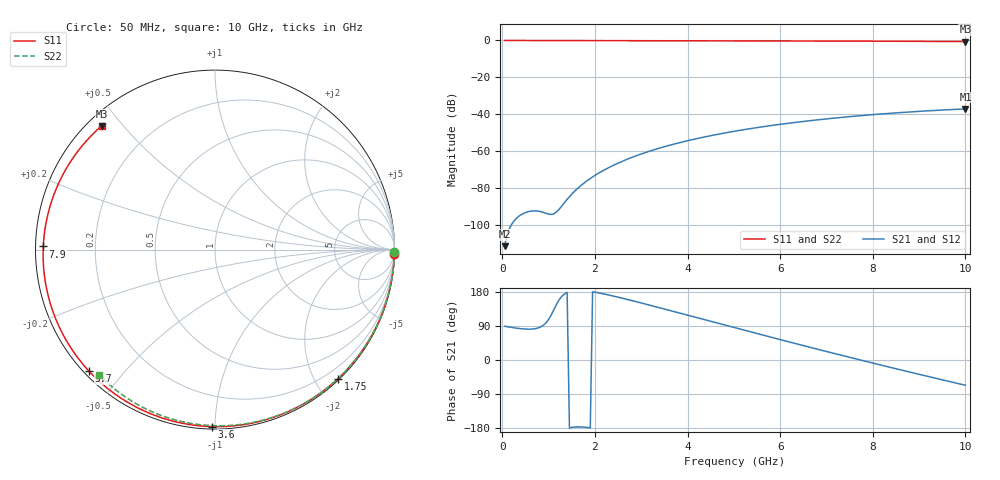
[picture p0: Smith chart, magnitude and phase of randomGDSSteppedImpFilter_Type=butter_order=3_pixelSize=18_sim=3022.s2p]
! freq	dB(S11)	phase(S11)	dB(S12)	phase(S12)
!  dB(S21)	phase(S21)	dB(S22)	phase(S22)
!S-par simulation data
#  GHz  S  DB  R 50
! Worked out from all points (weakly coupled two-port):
!   200 points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, 50 MHz to 10 GHz, reference 50 ohm
!   highest |S21| = -37.13 dB at 10 GHz (marker M1); lowest = -111.6 dB at 50 MHz (marker M2)
!   lowest |S11| = -0.6 dB at 10 GHz (marker M3), VSWR 29.82, Z = 2 + j22 ohm
!   |S11| at or under -10 dB: nowhere
!   |S22| runs from -0.4 to 0.0 dB; largest |S21 - S12| = 0
!   S11 on the Smith chart (normalised r, x): 50 MHz: 0, -84; 1.75 GHz: 0.02, -2.34; 3.6 GHz: 0.01, -0.98; 5.7 GHz: 0.01, -0.40; 7.9 GHz: 0.02, +0.01; 10 GHz: 0.04, +0.44
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0.05  -0.00 -1.4  -111.59 89.0  -111.59 89.0  -0.00 -0.8
0.4  -0.01 -10.8  -94.62 82.6  -94.62 82.6  -0.01 -6.1
0.8  -0.03 -21.5  -92.70 85.7  -92.70 85.7  -0.02 -12.2
1.2  -0.04 -32.1  -92.34 153.6  -92.34 153.6  -0.02 -18.3
1.6  -0.05 -42.5  -80.87 -176.5  -80.87 -176.5  -0.03 -24.2
1.65  -0.06 -43.8  -79.73 -176.3  -79.73 -176.3  -0.03 -25.0
1.75  -0.06 -46.3  -77.64 -176.9  -77.64 -176.9  -0.03 -26.5
2.05  -0.07 -53.9  -72.43 177.8  -72.43 177.8  -0.04 -30.9
2.45  -0.08 -63.8  -67.13 167.3  -67.13 167.3  -0.05 -36.8
2.9  -0.09 -74.7  -62.48 153.6  -62.48 153.6  -0.06 -43.3
3.4  -0.11 -86.4  -58.36 137.7  -58.36 137.7  -0.07 -50.4
3.6  -0.12 -91.0  -56.93 131.2  -56.93 131.2  -0.07 -53.2
4.3  -0.15 -106.5  -52.69 108.4  -52.69 108.4  -0.09 -62.9
5.05  -0.18 -122.6  -49.09 84.1  -49.09 84.1  -0.11 -72.9
5.7  -0.22 -136.1  -46.53 63.3  -46.53 63.3  -0.14 -81.4
6.2  -0.25 -146.3  -44.84 47.4  -44.84 47.4  -0.16 -87.8
6.7  -0.28 -156.4  -43.35 31.8  -43.35 31.8  -0.18 -94.0
7.3  -0.33 -168.7  -41.79 13.2  -41.79 13.2  -0.22 -101.3
7.9  -0.38 179.0  -40.45 -5.1  -40.45 -5.1  -0.26 -108.5
8.35  -0.42 169.5  -39.56 -18.6  -39.56 -18.6  -0.29 -113.8
9.15  -0.50 152.1  -38.23 -42.2  -38.23 -42.2  -0.36 -123.0
10  -0.58 132.5  -37.13 -66.6  -37.13 -66.6  -0.45 -132.8
